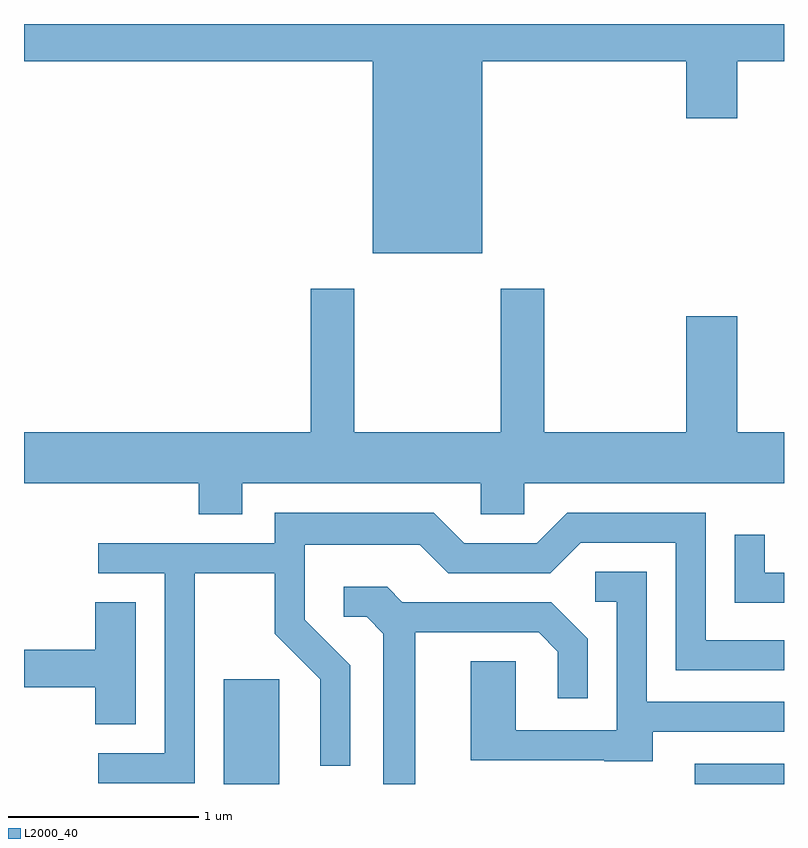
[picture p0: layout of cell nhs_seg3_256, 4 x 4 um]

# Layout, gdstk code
import gdstk
lib = gdstk.Library(unit=1e-6, precision=1e-09)
def R(c, l, rs):  # rectangles x0, y0, x1, y1
    for r in rs: c.add(gdstk.rectangle(r[:2], r[2:], *l))
def P(c, l, *ps):  # polygons
    for p in ps: c.add(gdstk.Polygon(p, *l))
L2000_40 = (2000, 40)

nhs_seg3_256 = lib.new_cell('nhs_seg3_256')
R(nhs_seg3_256, L2000_40, [(192.661,1219.892,192.954,1220.444), (195.141,1219.892,195.611,1219.999)])
P(nhs_seg3_256, L2000_40, [(194.024,1223.696),(195.096,1223.696),(195.096,1223.396),(195.364,1223.396),(195.364,1223.696),(195.611,1223.696),(195.611,1223.892),(191.611,1223.892),(191.611,1223.696),(193.446,1223.696),(193.446,1222.686),(194.024,1222.686)],
  [(192.759,1221.476),(194.016,1221.476),(194.016,1221.311),(194.244,1221.311),(194.244,1221.476),(195.611,1221.476),(195.611,1221.744),(195.364,1221.744),(195.364,1222.354),(195.096,1222.354),(195.096,1221.744),(194.349,1221.744),(194.349,1222.499),(194.121,1222.499),(194.121,1221.744),(193.349,1221.744),(193.349,1222.499),(193.121,1222.499),(193.121,1221.744),(191.611,1221.744),(191.611,1221.476),(192.531,1221.476),(192.531,1221.311),(192.759,1221.311)],
  [(192.509,1221.001),(192.931,1221.001),(192.931,1220.684),(193.171,1220.444),(193.171,1219.988),(193.329,1219.988),(193.329,1220.517),(193.089,1220.757),(193.089,1221.151),(193.694,1221.151),(193.844,1221.001),(194.382,1221.001),(194.542,1221.161),(195.041,1221.161),(195.041,1220.491),(195.611,1220.491),(195.611,1220.649),(195.199,1220.649),(195.199,1221.319),(194.469,1221.319),(194.309,1221.159),(193.927,1221.159),(193.767,1221.319),(192.931,1221.319),(192.931,1221.159),(192.003,1221.159),(192.003,1221.001),(192.351,1221.001),(192.351,1220.054),(192.003,1220.054),(192.003,1219.896),(192.509,1219.896)],
  [(195.611,1221.004),(195.509,1221.004),(195.509,1221.203),(195.351,1221.203),(195.351,1220.846),(195.611,1220.846)],
  [(194.919,1220.166),(195.611,1220.166),(195.611,1220.324),(194.889,1220.324),(194.889,1221.009),(194.618,1221.009),(194.618,1220.851),(194.731,1220.851),(194.731,1220.174),(194.199,1220.174),(194.199,1220.539),(193.961,1220.539),(193.961,1220.016),(194.665,1220.016),(194.665,1220.011),(194.919,1220.011)],
  [(193.669,1220.691),(194.319,1220.691),(194.421,1220.589),(194.421,1220.343),(194.579,1220.343),(194.579,1220.657),(194.387,1220.849),(193.602,1220.849),(193.522,1220.929),(193.293,1220.929),(193.293,1220.771),(193.414,1220.771),(193.501,1220.684),(193.501,1219.892),(193.669,1219.892)],
  [(192.199,1220.849),(191.986,1220.849),(191.986,1220.599),(191.611,1220.599),(191.611,1220.401),(191.986,1220.401),(191.986,1220.206),(192.199,1220.206)])

lib.write_gds('nhs_seg3_256.gds')
